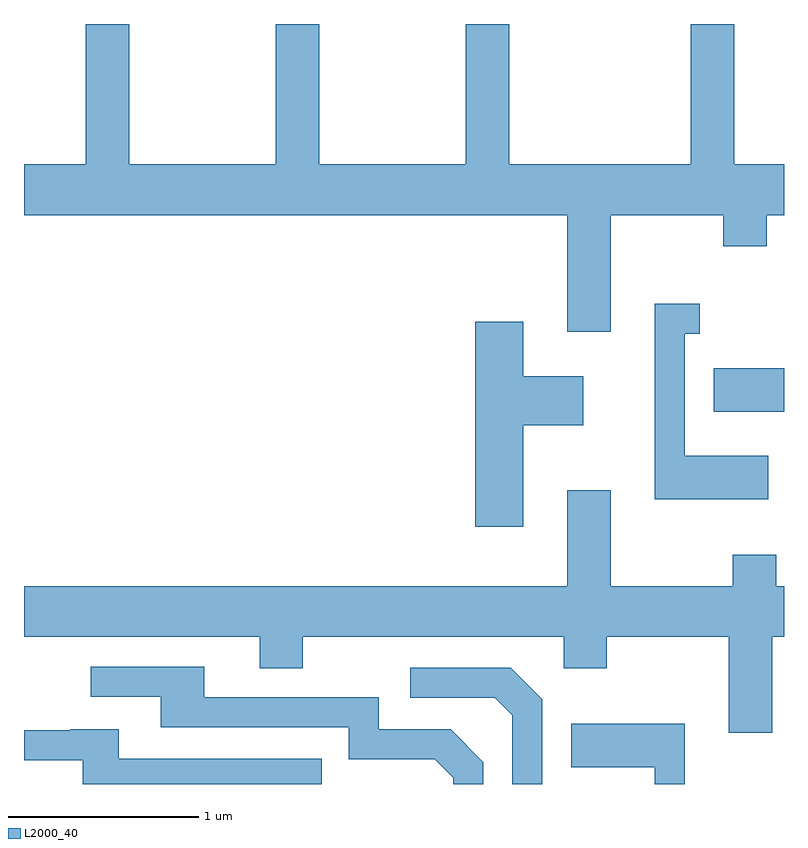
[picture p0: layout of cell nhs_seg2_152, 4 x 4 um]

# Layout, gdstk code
import gdstk
lib = gdstk.Library(unit=1e-6, precision=1e-09)
def R(c, l, rs):  # rectangles x0, y0, x1, y1
    for r in rs: c.add(gdstk.rectangle(r[:2], r[2:], *l))
def P(c, l, *ps):  # polygons
    for p in ps: c.add(gdstk.Polygon(p, *l))
L2000_40 = (2000, 40)

nhs_seg2_152 = lib.new_cell('nhs_seg2_152')
R(nhs_seg2_152, L2000_40, [(193.241,1011.761,193.611,1011.989)])
P(nhs_seg2_152, L2000_40, [(192.699,1012.796),(193.291,1012.796),(193.291,1012.631),(193.519,1012.631),(193.519,1012.796),(193.611,1012.796),(193.611,1013.064),(193.349,1013.064),(193.349,1013.802),(193.121,1013.802),(193.121,1013.064),(192.164,1013.064),(192.164,1013.802),(191.936,1013.802),(191.936,1013.064),(191.164,1013.064),(191.164,1013.802),(190.936,1013.802),(190.936,1013.064),(190.164,1013.064),(190.164,1013.802),(189.936,1013.802),(189.936,1013.064),(189.611,1013.064),(189.611,1012.796),(192.471,1012.796),(192.471,1012.181),(192.699,1012.181)],
  [(193.529,1011.529),(193.089,1011.529),(193.089,1012.171),(193.168,1012.171),(193.168,1012.329),(192.931,1012.329),(192.931,1011.301),(193.529,1011.301)],
  [(192.239,1011.691),(192.554,1011.691),(192.554,1011.949),(192.239,1011.949),(192.239,1012.234),(191.986,1012.234),(191.986,1011.156),(192.239,1011.156)],
  [(193.549,1010.576),(193.611,1010.576),(193.611,1010.844),(193.569,1010.844),(193.569,1011.009),(193.341,1011.009),(193.341,1010.844),(192.699,1010.844),(192.699,1011.349),(192.471,1011.349),(192.471,1010.844),(189.611,1010.844),(189.611,1010.576),(190.851,1010.576),(190.851,1010.411),(191.079,1010.411),(191.079,1010.576),(192.451,1010.576),(192.451,1010.411),(192.679,1010.411),(192.679,1010.576),(193.321,1010.576),(193.321,1010.071),(193.549,1010.071)],
  [(192.029,1009.917),(191.857,1010.089),(191.479,1010.089),(191.479,1010.259),(190.559,1010.259),(190.559,1010.419),(189.963,1010.419),(189.963,1010.261),(190.331,1010.261),(190.331,1010.101),(191.321,1010.101),(191.321,1009.931),(191.774,1009.931),(191.871,1009.834),(191.871,1009.802),(192.029,1009.802)],
  [(192.339,1010.247),(192.172,1010.414),(191.643,1010.414),(191.643,1010.256),(192.089,1010.256),(192.181,1010.164),(192.181,1009.802),(192.339,1009.802)],
  [(193.089,1010.119),(192.491,1010.119),(192.491,1009.891),(192.931,1009.891),(192.931,1009.802),(193.089,1009.802)],
  [(191.178,1009.934),(190.109,1009.934),(190.109,1010.089),(189.855,1010.089),(189.855,1010.084),(189.611,1010.084),(189.611,1009.926),(189.921,1009.926),(189.921,1009.802),(191.178,1009.802)])

lib.write_gds('nhs_seg2_152.gds')
